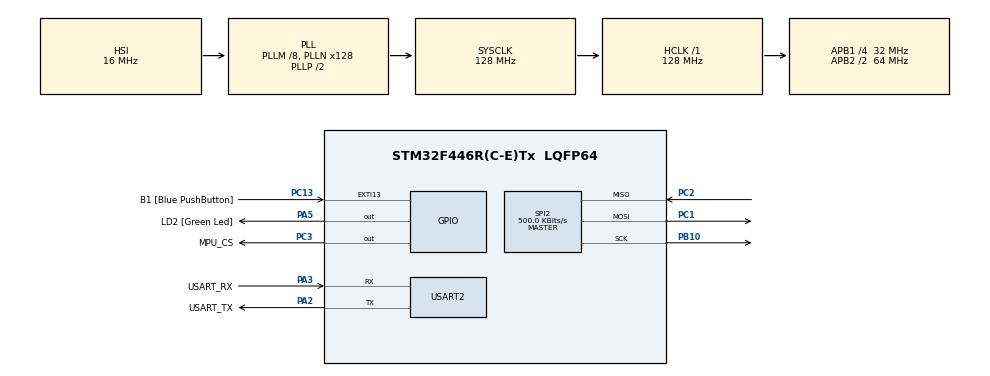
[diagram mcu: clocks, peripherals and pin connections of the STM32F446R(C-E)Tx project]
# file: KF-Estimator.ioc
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Mcu.Family=STM32F4
Mcu.Name=STM32F446R(C-E)Tx
Mcu.Package=LQFP64
NVIC.PriorityGroup=NVIC_PRIORITYGROUP_0
NVIC.TIM6_DAC_IRQn=true\:0\:0\:false\:false\:true\:true\:true
PA13.GPIO_Label=TMS
PA13.Mode=Serial_Wire
PA13.Signal=SYS_JTMS-SWDIO
PA14.GPIO_Label=TCK
PA14.Mode=Serial_Wire
PA14.Signal=SYS_JTCK-SWCLK
PA2.GPIO_Label=USART_TX
PA2.Mode=Asynchronous
PA2.Signal=USART2_TX
PA3.GPIO_Label=USART_RX
PA3.Mode=Asynchronous
PA3.Signal=USART2_RX
PA5.GPIO_Label=LD2 [Green Led]
PA5.Signal=GPIO_Output
PB10.Mode=Full_Duplex_Master
PB10.Signal=SPI2_SCK
PB3.GPIO_Label=SWO
PB3.Signal=SYS_JTDO-SWO
PC1.Mode=Full_Duplex_Master
PC1.Signal=SPI2_MOSI
PC13.GPIO_Label=B1 [Blue PushButton]
PC13.GPIO_ModeDefaultEXTI=GPIO_MODE_IT_FALLING
PC13.Signal=GPXTI13
PC14-OSC32_IN.Mode=LSE-External-Oscillator
PC14-OSC32_IN.Signal=RCC_OSC32_IN
PC15-OSC32_OUT.Mode=LSE-External-Oscillator
PC15-OSC32_OUT.Signal=RCC_OSC32_OUT
PC2.Mode=Full_Duplex_Master
PC2.Signal=SPI2_MISO
PC3.GPIO_Label=MPU_CS
PC3.GPIO_Speed=GPIO_SPEED_FREQ_HIGH
PC3.PinState=GPIO_PIN_SET
PC3.Signal=GPIO_Output
PH0-OSC_IN.Mode=HSE-External-Oscillator
PH0-OSC_IN.Signal=RCC_OSC_IN
PH1-OSC_OUT.Mode=HSE-External-Oscillator
PH1-OSC_OUT.Signal=RCC_OSC_OUT
ProjectManager.HeapSize=0x200
ProjectManager.StackSize=0x400
ProjectManager.TargetToolchain=STM32CubeIDE
RCC.48MHZClocksFreq_Value=84000000
RCC.AHBFreq_Value=128000000
RCC.APB1CLKDivider=RCC_HCLK_DIV4
RCC.APB1Freq_Value=32000000
RCC.APB1TimFreq_Value=64000000
RCC.APB2CLKDivider=RCC_HCLK_DIV2
RCC.APB2Freq_Value=64000000
RCC.APB2TimFreq_Value=128000000
RCC.CortexFreq_Value=128000000
RCC.FLatency-AdvancedSettings=FLASH_LATENCY_4
RCC.HCLKFreq_Value=128000000
RCC.HSE_VALUE=8000000
RCC.HSI_VALUE=16000000
RCC.PLLM=8
RCC.PLLN=128
RCC.SYSCLKFreq_VALUE=128000000
RCC.SYSCLKSource=RCC_SYSCLKSOURCE_PLLCLK
RCC.USBFreq_Value=128000000
RCC.VCOOutputFreq_Value=256000000
SPI2.BaudRatePrescaler=SPI_BAUDRATEPRESCALER_64
SPI2.CLKPhase=SPI_PHASE_2EDGE
SPI2.CLKPolarity=SPI_POLARITY_HIGH
SPI2.CalculateBaudRate=500.0 KBits/s
SPI2.Direction=SPI_DIRECTION_2LINES
SPI2.Mode=SPI_MODE_MASTER
SPI2.VirtualType=VM_MASTER
TIM6.AutoReloadPreload=TIM_AUTORELOAD_PRELOAD_ENABLE
TIM6.Period=99
TIM6.Prescaler=639
USART2.VirtualMode=VM_ASYNC
VP_TIM6_VS_ClockSourceINT.Mode=Enable_Timer
board=NUCLEO-F446RE

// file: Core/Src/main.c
/* USER CODE BEGIN Header */
/**
  ******************************************************************************
  * @file           : main.c
  * @brief          : Main program body
  ******************************************************************************
  * @attention
  *
  * <h2><center>&copy; Copyright (c) 2020 STMicroelectronics.
  * All rights reserved.</center></h2>
  *
  * This software component is licensed by ST under BSD 3-Clause license,
  * the "License"; You may not use this file except in compliance with the
  * License. You may obtain a copy of the License at:
  *                        opensource.org/licenses/BSD-3-Clause
  *
  ******************************************************************************
  */
/* USER CODE END Header */
#include "main.h"

/* USER CODE BEGIN PD */
AttitudeState s;
KalmanState kf;
/* USER CODE END PD */

SPI_HandleTypeDef hspi2;

TIM_HandleTypeDef htim6;

UART_HandleTypeDef huart2;

void SystemClock_Config(void);
static void MX_GPIO_Init(void);
static void MX_USART2_UART_Init(void);
static void MX_SPI2_Init(void);
static void MX_TIM6_Init(void);

/* USER CODE BEGIN 0 */
volatile uint8_t computeAttitude = 0;
volatile uint16_t num_computations = 0;

void HAL_TIM_PeriodElapsedCallback(TIM_HandleTypeDef* htim)
{
    computeAttitude = 1;
    ++num_computations;
}
/* USER CODE END 0 */

int main(void)
{

  /* MCU Configuration--------------------------------------------------------*/

  /* Reset of all peripherals, Initializes the Flash interface and the Systick. */
  HAL_Init();

  /* Configure the system clock */
  SystemClock_Config();

  /* Initialize all configured peripherals */
  MX_GPIO_Init();
  MX_USART2_UART_Init();
  MX_SPI2_Init();
  MX_TIM6_Init();

  /* Infinite loop */
  /* USER CODE BEGIN WHILE */
  MPU9250_DATA_t mpu_data;
  MPU9250_CONFIG_t mpu_config;
  mpu_config.hspi = &hspi2;
  mpu_config.GPIOx = MPU_CS_GPIO_Port;
  mpu_config.GPIO_PIN = MPU_CS_Pin;
  mpu_config.ACCEL_SCALE = ACCEL_SCALE_4G;
  mpu_config.GYRO_SCALE = GYRO_SCALE_500dps;
  for (uint8_t i = 0; i < 3; ++i) {
      mpu_config.ACCEL_OFFSET[i] = 0;
      mpu_config.GYRO_OFFSET[i] = 0;
      mpu_config.MAG_OFFSET[i] = 0;
  }
  MPU9250_Initialize(&mpu_config);
  MPU9250_Config(&mpu_config);
  MPU9250_Calibrate(&mpu_config);

  // Initialize attitude variables
  attitudeInit(&s, &kf);
  initKFMatrices(&kf);
  // start timer for quaternion computations
  HAL_TIM_Base_Start_IT(&htim6);
  while (1)
  {
      if (computeAttitude) {
          MPU9250_Update6DOF(&mpu_config, &mpu_data);
          madgwickUpdate(&s, mpu_data.accel, mpu_data.gyro, 3);
          computeAngles(&s);
          normalizeGravity(&s, mpu_data.accel);
          kfUpdate(&kf, mpu_data.accel);
          if (num_computations >= 10) {
              // print estimated KF position
//              printf("x: %i ", (int32_t) (kf.x_mat[0]*100)); // in units of cm
//              printf("y: %i ", (int32_t) (kf.x_mat[2]*100));
//              printf("z: %i\n\r", (int32_t) (kf.x_mat[4]*100));
                printf("%i ", (int32_t) (kf.x_mat[0]*100)); // in units of cm
                printf("%i ", (int32_t) (kf.x_mat[2]*100));
                printf("%i \r\n", (int32_t) (kf.x_mat[4]*100));
//              printf("%i ", (int32_t) (s.roll));
//              printf("%i ", (int32_t) (s.pitch));
//              printf("%i\r\n", (int32_t) (s.yaw));
//              printf("x: %i ", (int32_t) (mpu_data.accel[0]*1000));
//                printf("y: %i ", (int32_t) (mpu_data.accel[1]*1000));
//                printf("z: %i\r\n", (int32_t) (mpu_data.accel[2]*1000));
//                printf("%i ", (int32_t) (mpu_data.accel[0]*10000));
//                printf("%i ", (int32_t) (mpu_data.accel[1]*10000));
//                printf("%i \r\n", (int32_t) (mpu_data.accel[2]*10000));
//                printf("gyro x: %i, ", (int32_t) (mpu_data.gyro[0]*1000));
//                printf("gyro y: %i, ", (int32_t) (mpu_data.gyro[1]*1000));
//                printf("gyro z: %i \n\r", (int32_t) (mpu_data.gyro[2]*1000));
              num_computations = 0;
          } // prints at 1 Hz
          computeAttitude = 0;
      }
    /* USER CODE END WHILE */

  }
}

void SystemClock_Config(void)
{
  RCC_OscInitTypeDef RCC_OscInitStruct = {0};
  RCC_ClkInitTypeDef RCC_ClkInitStruct = {0};

  /** Configure the main internal regulator output voltage
  */
  __HAL_RCC_PWR_CLK_ENABLE();
  __HAL_PWR_VOLTAGESCALING_CONFIG(PWR_REGULATOR_VOLTAGE_SCALE2);
  /** Initializes the RCC Oscillators according to the specified parameters
  * in the RCC_OscInitTypeDef structure.
  */
  RCC_OscInitStruct.OscillatorType = RCC_OSCILLATORTYPE_HSI;
  RCC_OscInitStruct.HSIState = RCC_HSI_ON;
  RCC_OscInitStruct.HSICalibrationValue = RCC_HSICALIBRATION_DEFAULT;
  RCC_OscInitStruct.PLL.PLLState = RCC_PLL_ON;
  RCC_OscInitStruct.PLL.PLLSource = RCC_PLLSOURCE_HSI;
  RCC_OscInitStruct.PLL.PLLM = 8;
  RCC_OscInitStruct.PLL.PLLN = 128;
  RCC_OscInitStruct.PLL.PLLP = RCC_PLLP_DIV2;
  RCC_OscInitStruct.PLL.PLLQ = 2;
  RCC_OscInitStruct.PLL.PLLR = 2;
  if (HAL_RCC_OscConfig(&RCC_OscInitStruct) != HAL_OK)
  {
    Error_Handler();
  }
  /** Initializes the CPU, AHB and APB buses clocks
  */
  RCC_ClkInitStruct.ClockType = RCC_CLOCKTYPE_HCLK|RCC_CLOCKTYPE_SYSCLK
                              |RCC_CLOCKTYPE_PCLK1|RCC_CLOCKTYPE_PCLK2;
  RCC_ClkInitStruct.SYSCLKSource = RCC_SYSCLKSOURCE_PLLCLK;
  RCC_ClkInitStruct.AHBCLKDivider = RCC_SYSCLK_DIV1;
  RCC_ClkInitStruct.APB1CLKDivider = RCC_HCLK_DIV4;
  RCC_ClkInitStruct.APB2CLKDivider = RCC_HCLK_DIV2;

  if (HAL_RCC_ClockConfig(&RCC_ClkInitStruct, FLASH_LATENCY_4) != HAL_OK)
  {
    Error_Handler();
  }
}

static void MX_SPI2_Init(void)
{

  /* SPI2 parameter configuration*/
  hspi2.Instance = SPI2;
  hspi2.Init.Mode = SPI_MODE_MASTER;
  hspi2.Init.Direction = SPI_DIRECTION_2LINES;
  hspi2.Init.DataSize = SPI_DATASIZE_8BIT;
  hspi2.Init.CLKPolarity = SPI_POLARITY_HIGH;
  hspi2.Init.CLKPhase = SPI_PHASE_2EDGE;
  hspi2.Init.NSS = SPI_NSS_SOFT;
  hspi2.Init.BaudRatePrescaler = SPI_BAUDRATEPRESCALER_64;
  hspi2.Init.FirstBit = SPI_FIRSTBIT_MSB;
  hspi2.Init.TIMode = SPI_TIMODE_DISABLE;
  hspi2.Init.CRCCalculation = SPI_CRCCALCULATION_DISABLE;
  hspi2.Init.CRCPolynomial = 10;
  if (HAL_SPI_Init(&hspi2) != HAL_OK)
  {
    Error_Handler();
  }

}

static void MX_TIM6_Init(void)
{

  TIM_MasterConfigTypeDef sMasterConfig = {0};

  htim6.Instance = TIM6;
  htim6.Init.Prescaler = 639;
  htim6.Init.CounterMode = TIM_COUNTERMODE_UP;
  htim6.Init.Period = 99;
  htim6.Init.AutoReloadPreload = TIM_AUTORELOAD_PRELOAD_ENABLE;
  if (HAL_TIM_Base_Init(&htim6) != HAL_OK)
  {
    Error_Handler();
  }
  sMasterConfig.MasterOutputTrigger = TIM_TRGO_RESET;
  sMasterConfig.MasterSlaveMode = TIM_MASTERSLAVEMODE_DISABLE;
  if (HAL_TIMEx_MasterConfigSynchronization(&htim6, &sMasterConfig) != HAL_OK)
  {
    Error_Handler();
  }

}

static void MX_USART2_UART_Init(void)
{

  huart2.Instance = USART2;
  huart2.Init.BaudRate = 115200;
  huart2.Init.WordLength = UART_WORDLENGTH_8B;
  huart2.Init.StopBits = UART_STOPBITS_1;
  huart2.Init.Parity = UART_PARITY_NONE;
  huart2.Init.Mode = UART_MODE_TX_RX;
  huart2.Init.HwFlowCtl = UART_HWCONTROL_NONE;
  huart2.Init.OverSampling = UART_OVERSAMPLING_16;
  if (HAL_UART_Init(&huart2) != HAL_OK)
  {
    Error_Handler();
  }

}

static void MX_GPIO_Init(void)
{
  GPIO_InitTypeDef GPIO_InitStruct = {0};

  /* GPIO Ports Clock Enable */
  __HAL_RCC_GPIOC_CLK_ENABLE();
  __HAL_RCC_GPIOH_CLK_ENABLE();
  __HAL_RCC_GPIOA_CLK_ENABLE();
  __HAL_RCC_GPIOB_CLK_ENABLE();

  /*Configure GPIO pin Output Level */
  HAL_GPIO_WritePin(MPU_CS_GPIO_Port, MPU_CS_Pin, GPIO_PIN_SET);

  /*Configure GPIO pin Output Level */
  HAL_GPIO_WritePin(LD2_GPIO_Port, LD2_Pin, GPIO_PIN_RESET);

  /*Configure GPIO pin : B1_Pin */
  GPIO_InitStruct.Pin = B1_Pin;
  GPIO_InitStruct.Mode = GPIO_MODE_IT_FALLING;
  GPIO_InitStruct.Pull = GPIO_NOPULL;
  HAL_GPIO_Init(B1_GPIO_Port, &GPIO_InitStruct);

  /*Configure GPIO pin : MPU_CS_Pin */
  GPIO_InitStruct.Pin = MPU_CS_Pin;
  GPIO_InitStruct.Mode = GPIO_MODE_OUTPUT_PP;
  GPIO_InitStruct.Pull = GPIO_NOPULL;
  GPIO_InitStruct.Speed = GPIO_SPEED_FREQ_HIGH;
  HAL_GPIO_Init(MPU_CS_GPIO_Port, &GPIO_InitStruct);

  /*Configure GPIO pin : LD2_Pin */
  GPIO_InitStruct.Pin = LD2_Pin;
  GPIO_InitStruct.Mode = GPIO_MODE_OUTPUT_PP;
  GPIO_InitStruct.Pull = GPIO_NOPULL;
  GPIO_InitStruct.Speed = GPIO_SPEED_FREQ_LOW;
  HAL_GPIO_Init(LD2_GPIO_Port, &GPIO_InitStruct);

}

/* USER CODE BEGIN 4 */
#ifdef __GNUC__
#define PUTCHAR_PROTOTYPE int __io_putchar(int ch)
#else
  #define PUTCHAR_PROTOTYPE int fputc(int ch, FILE *f)
#endif /* __GNUC__ */
PUTCHAR_PROTOTYPE
{
  HAL_UART_Transmit(&huart2, (uint8_t *)&ch, 1, 0xFFFF);
  return ch;
}
/* USER CODE END 4 */

void Error_Handler(void)
{
}

/************************ (C) COPYRIGHT STMicroelectronics *****END OF FILE****/
